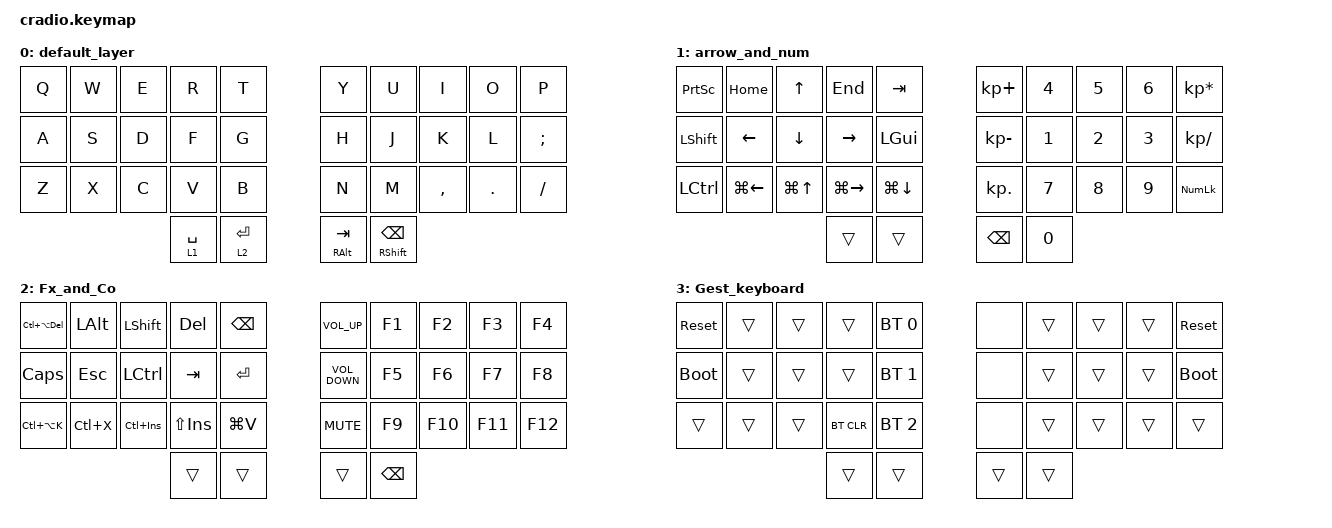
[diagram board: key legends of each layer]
/*
 * Copyright (c) 2020 The ZMK Contributors
 *
 * SPDX-License-Identifier: MIT
 */

#include <behaviors.dtsi>
#include <dt-bindings/zmk/bt.h>
#include <dt-bindings/zmk/keys.h>

#define NAV_L 1
#define OTHER_L 2
#define NUM_L 3
#define SYM_L 4

// Using layer taps on thumbs, having quick tap as well helps w/ repeating space/backspace
//&lt { quick-tap-ms = <200>; };

&sk {
    quick-release;
    release-after-ms = <500>;
};

/ {
    behaviors {
        //#ifndef HOMEY_HOLDING_TYPE
        //#define HOMEY_HOLDING_TYPE "balanced"
        //#endif
        //#ifndef HOMEY_HOLDING_TIME
        //#define HOMEY_HOLDING_TIME 270
        //#endif
        //#ifndef HOMEY_STREAK_DECAY
        //#define HOMEY_STREAK_DECAY 170
        //#endif
        //#ifndef HOMEY_REPEAT_DECAY
        //#define HOMEY_REPEAT_DECAY 300 // "tap then hold" for key auto-repeat
        //#endif

        tapmod_thumb: miryoku_tapmod_thumb {
            compatible = "zmk,behavior-hold-tap";
            label = "TAP_MOD_THUMB";
            flavor = "hold-preferred";
            hold-trigger-on-release; // wait for other home row mods
            tapping-term-ms = <175>;
            quick-tap-ms = <250>;

            //require-prior-idle-ms = <170>;

            #binding-cells = <2>;
            bindings = <&kp>, <&kp>;

            //retro-tap;
        };

        layer_thumb: miryoku_home_row_layer_thumb {
            compatible = "zmk,behavior-hold-tap";
            label = "HOME_ROW_LAYER_THUMB";
            flavor = "tap-preferred";
            hold-trigger-on-release; // wait for other home row mods
            tapping-term-ms = <175>;
            quick-tap-ms = <250>;

            //require-prior-idle-ms = <170>;

            #binding-cells = <2>;
            bindings = <&mo>, <&kp>;

            //retro-tap;
        };

        taphold: taphold {
            compatible = "zmk,behavior-hold-tap";
            label = "TAPHOLD";
            bindings = <&kp>, <&kp>;

            #binding-cells = <2>;
            tapping-term-ms = <200>;
            quick-tap-ms = <200>;
        };

        tapholdlong: tapholdlong {
            compatible = "zmk,behavior-hold-tap";
            label = "TAPHOLDLONG";
            bindings = <&kp>, <&kp>;

            #binding-cells = <2>;
            tapping-term-ms = <400>;
            flavor = "tap-preferred";
        };

        hrm_layer: hrm_layer {
            compatible = "zmk,behavior-hold-tap";
            flavor = "tap-preferred";
            hold-trigger-on-release;
            tapping-term-ms = <250>;
            quick-tap-ms = <250>;
            #binding-cells = <2>;
            bindings = <&mo>, <&kp>;

            require-prior-idle-ms = <160>;
            label = "HRM_LAYER";
        };

        hrm_auriculaire: hrm_auriculaire {
            compatible = "zmk,behavior-hold-tap";
            flavor = "tap-preferred";
            hold-trigger-on-release;
            tapping-term-ms = <300>;
            quick-tap-ms = <250>;
            #binding-cells = <2>;
            bindings = <&kp>, <&kp>;

            require-prior-idle-ms = <175>;
            label = "HRM_AURICULAIRE";
        };

        hrm_annulaire: hrm_annulaire {
            compatible = "zmk,behavior-hold-tap";
            flavor = "tap-preferred";
            hold-trigger-on-release;
            tapping-term-ms = <300>;
            quick-tap-ms = <250>;
            #binding-cells = <2>;
            bindings = <&kp>, <&kp>;

            require-prior-idle-ms = <175>;
            label = "HRM_ANNULAIRE";
        };

        hrm_majeur: hrm_majeur {
            compatible = "zmk,behavior-hold-tap";
            flavor = "tap-preferred";
            hold-trigger-on-release;
            tapping-term-ms = <300>;
            quick-tap-ms = <250>;
            #binding-cells = <2>;
            bindings = <&kp>, <&kp>;

            require-prior-idle-ms = <175>;
            label = "HRM_MAJEUR";
        };

        hrm_index: hrm_index {
            compatible = "zmk,behavior-hold-tap";
            flavor = "tap-preferred";
            hold-trigger-on-release;
            tapping-term-ms = <300>;
            quick-tap-ms = <250>;
            #binding-cells = <2>;
            bindings = <&kp>, <&kp>;

            require-prior-idle-ms = <175>;
            label = "HRM_INDEX";
        };
    };

    combos { compatible = "zmk,combos"; };

    keymap {
        compatible = "zmk,keymap";

        default_layer {
            bindings = <
&kp Q  &kp W  &kp E  &kp R                 &kp T                   &kp Y                        &kp U                          &kp I      &kp O    &kp P
&kp A  &kp S  &kp D  &kp F                 &kp G                   &kp H                        &kp J                          &kp K      &kp L    &kp SEMI
&kp Z  &kp X  &kp C  &kp V                 &kp B                   &kp N                        &kp M                          &kp COMMA  &kp DOT  &kp FSLH
                     &layer_thumb 1 SPACE  &layer_thumb 2 ENTER    &tapmod_thumb RIGHT_ALT TAB  &tapmod_thumb RSHFT BACKSPACE
            >;
        };

        arrow_and_num {
            bindings = <
&kp PRINTSCREEN  &kp HOME            &kp UP            &kp END              &kp TAB               &kp KP_PLUS    &kp N4  &kp N5  &kp N6  &kp KP_MULTIPLY
&kp LSHIFT       &kp LEFT            &kp DOWN          &kp RIGHT            &kp LGUI              &kp KP_MINUS   &kp N1  &kp N2  &kp N3  &kp KP_SLASH
&kp LCTRL        &kp LG(LEFT_ARROW)  &kp LG(UP_ARROW)  &kp LG(RIGHT_ARROW)  &kp LG(DOWN_ARROW)    &kp KP_DOT     &kp N7  &kp N8  &kp N9  &kp KP_NUM
                                                       &trans               &trans                &kp BACKSPACE  &kp N0
            >;
        };

        Fx_and_Co {
            bindings = <
&kp LC(LA(DELETE))  &kp LEFT_ALT  &kp LEFT_SHIFT  &kp DELETE      &kp BACKSPACE    &kp C_VOL_UP       &kp F1         &kp F2   &kp F3   &kp F4
&kp CAPSLOCK        &kp ESC       &kp LCTRL       &kp TAB         &kp ENTER        &kp C_VOLUME_DOWN  &kp F5         &kp F6   &kp F7   &kp F8
&kp LC(LA(K))       &kp LC(X)     &kp LC(INSERT)  &kp LS(INSERT)  &kp LG(V)        &kp C_MUTE         &kp F9         &kp F10  &kp F11  &kp F12
                                                  &trans          &trans           &trans             &kp BACKSPACE
            >;
        };

        Gest_keyboard {
            bindings = <
&sys_reset   &trans  &trans  &trans      &bt BT_SEL 0    &none   &trans  &trans  &trans  &sys_reset
&bootloader  &trans  &trans  &trans      &bt BT_SEL 1    &none   &trans  &trans  &trans  &bootloader
&trans       &trans  &trans  &bt BT_CLR  &bt BT_SEL 2    &none   &trans  &trans  &trans  &trans
                             &trans      &trans          &trans  &trans
            >;
        };
    };

    conditional_layers {
        compatible = "zmk,conditional-layers";

        param {
            if-layers = <1 2>;
            then-layer = <3>;
        };
    };
};
